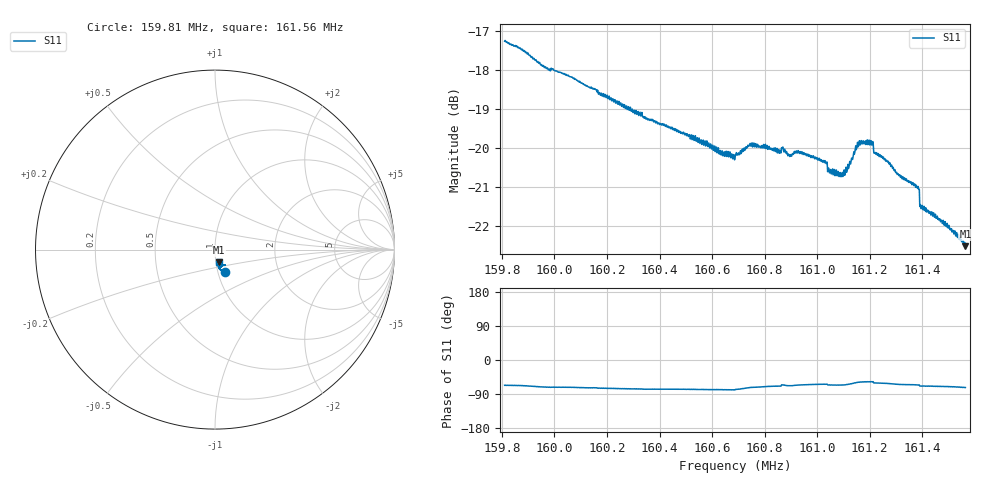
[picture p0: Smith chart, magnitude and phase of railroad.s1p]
! Calibrated averaged scanner-service zoom
# Hz S RI R 50
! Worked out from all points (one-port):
!   1001 points, 159.81 MHz to 161.56 MHz, reference 50 ohm
!   lowest |S11| = -22.5 dB at 161.56 MHz (marker M1), VSWR 1.16, Z = 51.7 - j7.43 ohm
!   |S11| at or under -10 dB: start of sweep to end of sweep
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1.5981e8  0.0543 -0.1258
1.598784e8  0.0513 -0.1235
1.599767e8  0.039 -0.1198
1.600294e8  0.039 -0.1184
1.602488e8  0.0282 -0.1099
1.604681e8  0.024 -0.1027
1.606348e8  0.0199 -0.0959
1.606875e8  0.0188 -0.0952
1.607507e8  0.0306 -0.0961
1.608507e8  0.0355 -0.0923
1.608735e8  0.041 -0.0899
1.608946e8  0.0367 -0.0907
1.609069e8  0.0375 -0.0909
1.609367e8  0.0405 -0.09
1.610245e8  0.0423 -0.0864
1.61049e8  0.038 -0.0851
1.610841e8  0.0375 -0.0839
1.611069e8  0.0387 -0.0842
1.611262e8  0.0432 -0.0851
1.611473e8  0.0503 -0.0872
1.611614e8  0.0531 -0.0873
1.612052e8  0.0546 -0.0864
1.612245e8  0.0481 -0.0856
1.613456e8  0.0384 -0.0822
1.613807e8  0.0366 -0.0811
1.614e8  0.0303 -0.0788
1.614808e8  0.0277 -0.0759
1.61565e8  0.0224 -0.0714
